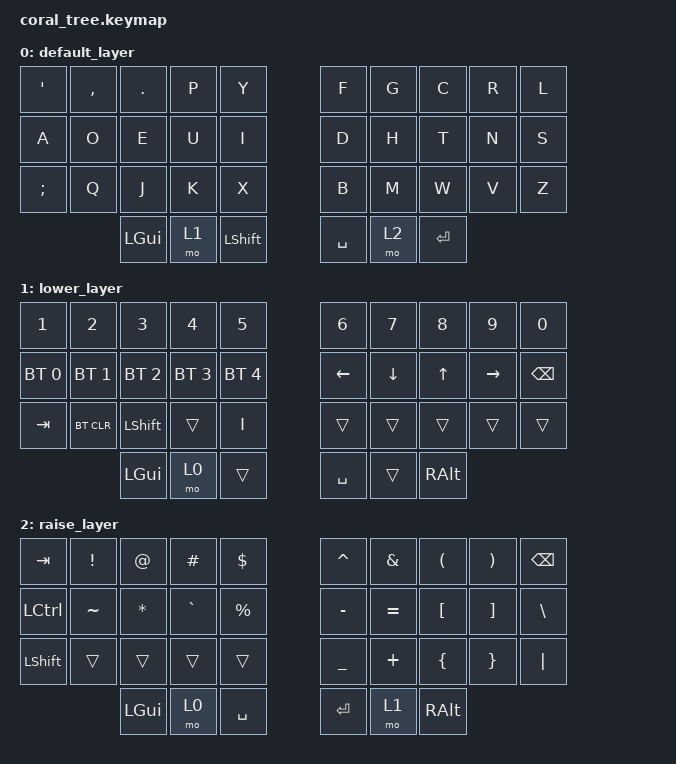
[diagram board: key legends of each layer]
/*
 * Copyright (c) 2020 The ZMK Contributors
 *
 * SPDX-License-Identifier: MIT
 */

#include <behaviors.dtsi>
#include <dt-bindings/zmk/keys.h>
#include <dt-bindings/zmk/bt.h>
#include <dt-bindings/zmk/rgb.h>

/ {
        keymap {
                compatible = "zmk,keymap";

                default_layer {
// -----------------------------------------------------------------------------------------
// |  '  |  ,  |  .  |  P  |  Y  |   |  F  |  G   |  C  |  R  |  L  |
// |  A  |  O  |  E  |  U  |  I  |   |  D  |  H   |  T  |  N  |  S  |
// |  ;  |  Q  |  J  |  K  |  X  |   |  B  |  M   |  W  |  V  |  Z  | 
//                    | GUI | LWR | SPC |   | ENT | RSE  | ALT |
   bindings = <
   &kp SINGLE_QUOTE &kp COMMA &kp DOT  &kp P &kp Y      /**/  &kp F     &kp G  &kp C    &kp R &kp L   
   &kp A            &kp O     &kp E    &kp U &kp I      /**/  &kp D     &kp H  &kp T    &kp N &kp S
   &kp SEMICOLON    &kp Q     &kp J    &kp K &kp X      /**/  &kp B     &kp M  &kp W    &kp V &kp Z
                              &kp LGUI &mo 1 &kp LSHIFT /**/  &kp SPACE &mo 2  &kp RET
                        >;
                };
                lower_layer {
// -----------------------------------------------------------------------------------------
// |  1  |  2    |  3   |  4  |  5  | /**/ |  6  |  7  |  8  |  9  |  0   |
// | BT1 | BT2   | BT3  | BT4 | BT5 | /**/ | LFT | DWN |  UP | RGT | BSPC |
// | TAB | BTCLR | SHFT |     |     | /**/ |     |     |     |     |      |
//               | GUI  |     | SPC | /**/ | ENT |     | ALT |
                        bindings = <
   &kp N1       &kp N2       &kp N3       &kp N4       &kp N5        /**/  &kp N6    &kp N7   &kp N8   &kp N9    &kp N0 
   &bt BT_SEL 0 &bt BT_SEL 1 &bt BT_SEL 2 &bt BT_SEL 3 &bt BT_SEL 4  /**/  &kp LEFT  &kp DOWN &kp UP   &kp RIGHT &kp BSPC
   &kp TAB      &bt BT_CLR   &kp LSHIFT   &trans       &kp I         /**/  &trans    &trans   &trans   &trans    &trans 
                             &kp LGUI     &mo 0        &trans        /**/  &kp SPACE &trans   &kp RALT
                        >;
                };
                   
                raise_layer {
// -----------------------------------------------------------------------------------------
// |  TAB |  !  |  @  |  #  |  $  |  %  |   |  ^  |  &  |  *  |  (  |  )  | BSPC |
// | CTRL |     |     |     |     |     |   |  -  |  =  |  [  |  ]  |  \  |  `   |
// | SHFT |     |     |     |     |     |   |  _  |  +  |  {  |  }  | "|" |  ~   |
//                    | GUI |     | SPC |   | ENT |     | ALT |
                        bindings = <
   &kp  TAB   &kp EXCL  &kp AT     &kp HASH  &kp DLLR    &kp CARET &kp AMPS  &kp LPAR &kp RPAR &kp BSPC
   &kp LCTRL  &kp TILDE &kp ASTRK  &kp GRAVE &kp PRCNT   &kp MINUS &kp EQUAL &kp LBKT  &kp RBKT &kp BSLH 
   &kp LSHFT  &trans    &trans     &trans    &trans      &kp UNDER &kp PLUS  &kp LBRC  &kp RBRC &kp PIPE 
                        &kp LGUI   &mo 0     &kp SPACE   &kp RET   &mo 1     &kp RALT
                        >;
                };
                                                
        };
};
